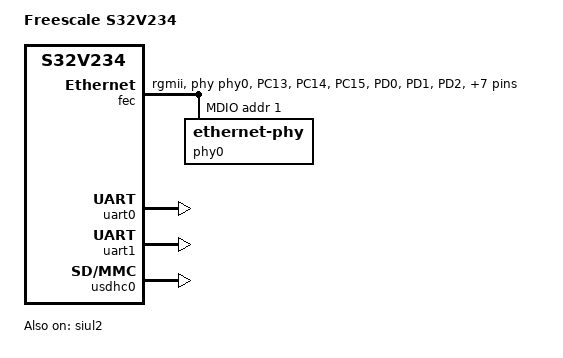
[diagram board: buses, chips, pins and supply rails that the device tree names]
/*
 * Copyright 2015-2016 Freescale Semiconductor, Inc.
 * Copyright 2017 MicroSys Electronics GmbH
 * Copyright 2018-2019 NXP
 *
 * This program is free software; you can redistribute it and/or modify
 * it under the terms of the GNU General Public License as published by
 * the Free Software Foundation; either version 2 of the License, or
 * (at your option) any later version.
 */

/dts-v1/;

#include "s32v234.dtsi"

/ {
	model = "Freescale S32V234";
	compatible = "fsl,s32v234-sbc", "fsl,s32v234";

	chosen {
		stdout-path = "serial0:115200n8";
	};
};

&fec {
	pinctrl-names = "default";
	pinctrl-0 = <&pinctrl_enet>;
	phy-mode = "rgmii";
	phy-handle = <&phy0>;
	status = "okay";

	mdio {
		#address-cells = <1>;
		#size-cells = <0>;
		phy0: ethernet-phy@1 {
			reg = <1>;
		};
	};
};

&siul2 {
	status = "okay";

	s32v234-sbc {
		/* Format of pins: MSCR_IDX PAD_CONFIGURATION If you know the
		 * IMCR_IDX instead of MSCR_IDX, add 512 to it as the Reference
		 * Manual states.
		 */

		pinctrl_enet: enetgrp {
			fsl,pins = <
				S32V234_PAD_PC13__MDC
				S32V234_PAD_PC14__MDIO_OUT
				S32v234_PAD_PC14__MDIO_IN
				S32V234_PAD_PC15__TXCLK_OUT
				S32V234_PAD_PC15__TXCLK_IN
				S32V234_PAD_PD0__RXCLK_OUT
				S32V234_PAD_PD0__RXCLK_IN
				S32V234_PAD_PD1__RX_D0_OUT
				S32V234_PAD_PD1__RX_D0_IN
				S32V234_PAD_PD2__RX_D1_OUT
				S32V234_PAD_PD2__RX_D1_IN
				S32V234_PAD_PD3__RX_D2_OUT
				S32V234_PAD_PD3__RX_D2_IN
				S32V234_PAD_PD4__RX_D3_OUT
				S32V234_PAD_PD4__RX_D3_IN
				S32V234_PAD_PD4__RX_DV_OUT
				S32V234_PAD_PD4__RX_DV_IN
				S32V234_PAD_PD7__TX_D0_OUT
				S32V234_PAD_PD8__TX_D1_OUT
				S32V234_PAD_PD9__TX_D2_OUT
				S32V234_PAD_PD10__TX_D3_OUT
				S32V234_PAD_PD11__TX_EN_OUT
			>;
		};

		pinctrl_uart0: uart0grp {
			fsl,pins = <
				12  PAD_CTL_UART_TX
				11  PAD_CTL_UART_RX_MSCR
				712 PAD_CTL_UART_RX_IMCR
			>;
		};

		pinctrl_uart1: uart1grp {
			fsl,pins = <
				14  PAD_CTL_UART_TX
				13  PAD_CTL_UART_RX_MSCR
				714 PAD_CTL_UART_RX_IMCR
			>;
		};

		pinctrl_usdhc0: usdhc0grp {
			fsl,pins = <
				150 PAD_CTL_USDHC_CLK
				902 PAD_CTL_MUX_MODE_ALT3
				151 PAD_CTL_USDHC_CMD
				901 PAD_CTL_MUX_MODE_ALT3
				152 PAD_CTL_USDHC_DAT0_3
				903 PAD_CTL_MUX_MODE_ALT3
				153 PAD_CTL_USDHC_DAT0_3
				904 PAD_CTL_MUX_MODE_ALT3
				154 PAD_CTL_USDHC_DAT0_3
				905 PAD_CTL_MUX_MODE_ALT3
				155 PAD_CTL_USDHC_DAT0_3
				906 PAD_CTL_MUX_MODE_ALT3
				159 PAD_CTL_USDHC_DAT4_7
				907 PAD_CTL_MUX_MODE_ALT3
				160 PAD_CTL_USDHC_DAT4_7
				908 PAD_CTL_MUX_MODE_ALT3
				161 PAD_CTL_USDHC_DAT4_7
				909 PAD_CTL_MUX_MODE_ALT3
				162 PAD_CTL_USDHC_DAT4_7
				910 PAD_CTL_MUX_MODE_ALT3
			>;
		};
	};
};

&uart0 {
	pinctrl-names = "default";
	pinctrl-0 = <&pinctrl_uart0>;
	status = "okay";
};

&uart1 {
	pinctrl-names = "default";
	pinctrl-0 = <&pinctrl_uart1>;
	status = "okay";
};

&usdhc0 {
	no-1-8-v;
	pinctrl-names = "default";
	pinctrl-0 = <&pinctrl_usdhc0>;
	status = "okay";
};
